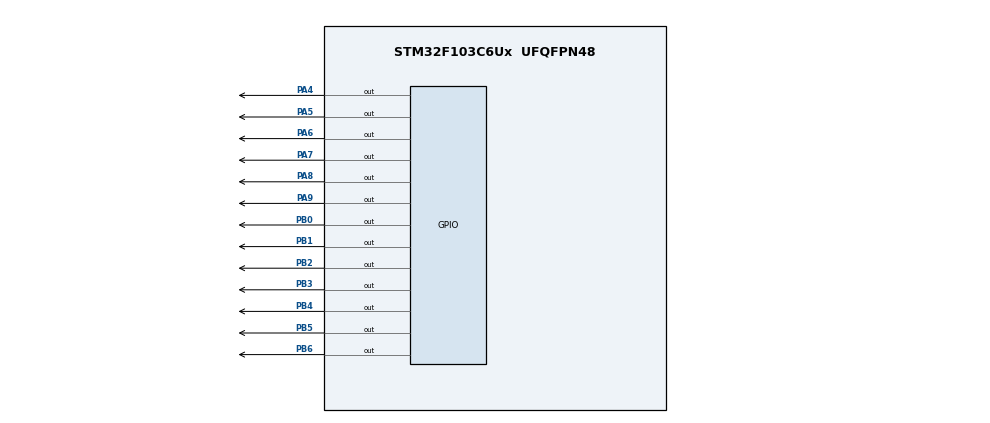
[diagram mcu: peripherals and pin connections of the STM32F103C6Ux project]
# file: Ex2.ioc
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Mcu.Family=STM32F1
Mcu.Name=STM32F103C6Ux
Mcu.Package=UFQFPN48
NVIC.PriorityGroup=NVIC_PRIORITYGROUP_4
NVIC.TIM2_IRQn=true\:0\:0\:false\:false\:true\:true\:true\:true
PA13.Mode=Serial_Wire
PA13.Signal=SYS_JTMS-SWDIO
PA14.Mode=Serial_Wire
PA14.Signal=SYS_JTCK-SWCLK
PA4.Signal=GPIO_Output
PA5.Signal=GPIO_Output
PA6.PinState=GPIO_PIN_SET
PA6.Signal=GPIO_Output
PA7.PinState=GPIO_PIN_SET
PA7.Signal=GPIO_Output
PA8.PinState=GPIO_PIN_SET
PA8.Signal=GPIO_Output
PA9.PinState=GPIO_PIN_SET
PA9.Signal=GPIO_Output
PB0.Signal=GPIO_Output
PB1.Signal=GPIO_Output
PB2.Signal=GPIO_Output
PB3.Signal=GPIO_Output
PB4.Signal=GPIO_Output
PB5.Signal=GPIO_Output
PB6.Signal=GPIO_Output
ProjectManager.HeapSize=0x200
ProjectManager.StackSize=0x400
ProjectManager.TargetToolchain=STM32CubeIDE
RCC.APB1Freq_Value=8000000
RCC.APB2Freq_Value=8000000
TIM2.Period=9
TIM2.Prescaler=7999
VP_TIM2_VS_ClockSourceINT.Mode=Internal
board=custom

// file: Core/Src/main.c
/* USER CODE BEGIN Header */
/**
  ******************************************************************************
  * @file           : main.c
  * @brief          : Main program body
  ******************************************************************************
  * @attention
  *
  * Copyright (c) 2026 STMicroelectronics.
  * All rights reserved.
  *
  * This software is licensed under terms that can be found in the LICENSE file
  * in the root directory of this software component.
  * If no LICENSE file comes with this software, it is provided AS-IS.
  *
  ******************************************************************************
  */
/* USER CODE END Header */
#include "main.h"

TIM_HandleTypeDef htim2;

/* USER CODE BEGIN PV */
int counter_led = 50;
int counter_dot = 100;
int state_led = 0;
/* USER CODE END PV */

void SystemClock_Config(void);
static void MX_GPIO_Init(void);
static void MX_TIM2_Init(void);
/* USER CODE BEGIN PFP */
void display7SEG(int num);
/* USER CODE END PFP */

/* USER CODE BEGIN 0 */
void display7SEG(int num) {
    uint8_t seg_code[10] = {
        0x40, // 0: 0b01000000
        0x79, // 1: 0b01111001
        0x24, // 2: 0b00100100
        0x30, // 3: 0b00110000
        0x19, // 4: 0b00011001
        0x12, // 5: 0b00010010
        0x02, // 6: 0b00000010
        0x78, // 7: 0b01111000
        0x00, // 8: 0b00000000
        0x10  // 9: 0b00010000
    };

    if (num >= 0 && num <= 9) {
        uint8_t code = seg_code[num];
        for (int i = 0; i < 7; i++) {
            HAL_GPIO_WritePin(GPIOB, GPIO_PIN_0 << i, ((code >> i) & 0x01) ? GPIO_PIN_SET : GPIO_PIN_RESET);
        }
    }
}
/* USER CODE END 0 */

int main(void)
{

  /* MCU Configuration--------------------------------------------------------*/

  /* Reset of all peripherals, Initializes the Flash interface and the Systick. */
  HAL_Init();

  /* Configure the system clock */
  SystemClock_Config();

  /* Initialize all configured peripherals */
  MX_GPIO_Init();
  MX_TIM2_Init();
  /* USER CODE BEGIN 2 */
  // Tắt tất cả 4 LED 7 đoạn ban đầu
  HAL_GPIO_WritePin(GPIOA, GPIO_PIN_6 | GPIO_PIN_7 | GPIO_PIN_8 | GPIO_PIN_9, GPIO_PIN_SET);

  // Tắt chấm đếm PA4
  HAL_GPIO_WritePin(GPIOA, GPIO_PIN_4, GPIO_PIN_SET);

  // Khởi động ngắt Timer 2
  HAL_TIM_Base_Start_IT(&htim2);
  /* USER CODE END 2 */

  /* Infinite loop */
  while (1)
  {

  }
}

void SystemClock_Config(void)
{
  RCC_OscInitTypeDef RCC_OscInitStruct = {0};
  RCC_ClkInitTypeDef RCC_ClkInitStruct = {0};

  /** Initializes the RCC Oscillators according to the specified parameters
  * in the RCC_OscInitTypeDef structure.
  */
  RCC_OscInitStruct.OscillatorType = RCC_OSCILLATORTYPE_HSI;
  RCC_OscInitStruct.HSIState = RCC_HSI_ON;
  RCC_OscInitStruct.HSICalibrationValue = RCC_HSICALIBRATION_DEFAULT;
  RCC_OscInitStruct.PLL.PLLState = RCC_PLL_NONE;
  if (HAL_RCC_OscConfig(&RCC_OscInitStruct) != HAL_OK)
  {
    Error_Handler();
  }

  /** Initializes the CPU, AHB and APB buses clocks
  */
  RCC_ClkInitStruct.ClockType = RCC_CLOCKTYPE_HCLK|RCC_CLOCKTYPE_SYSCLK
                              |RCC_CLOCKTYPE_PCLK1|RCC_CLOCKTYPE_PCLK2;
  RCC_ClkInitStruct.SYSCLKSource = RCC_SYSCLKSOURCE_HSI;
  RCC_ClkInitStruct.AHBCLKDivider = RCC_SYSCLK_DIV1;
  RCC_ClkInitStruct.APB1CLKDivider = RCC_HCLK_DIV1;
  RCC_ClkInitStruct.APB2CLKDivider = RCC_HCLK_DIV1;

  if (HAL_RCC_ClockConfig(&RCC_ClkInitStruct, FLASH_LATENCY_0) != HAL_OK)
  {
    Error_Handler();
  }
}

static void MX_TIM2_Init(void)
{

  TIM_ClockConfigTypeDef sClockSourceConfig = {0};
  TIM_MasterConfigTypeDef sMasterConfig = {0};

  htim2.Instance = TIM2;
  htim2.Init.Prescaler = 7999;
  htim2.Init.CounterMode = TIM_COUNTERMODE_UP;
  htim2.Init.Period = 9;
  htim2.Init.ClockDivision = TIM_CLOCKDIVISION_DIV1;
  htim2.Init.AutoReloadPreload = TIM_AUTORELOAD_PRELOAD_DISABLE;
  if (HAL_TIM_Base_Init(&htim2) != HAL_OK)
  {
    Error_Handler();
  }
  sClockSourceConfig.ClockSource = TIM_CLOCKSOURCE_INTERNAL;
  if (HAL_TIM_ConfigClockSource(&htim2, &sClockSourceConfig) != HAL_OK)
  {
    Error_Handler();
  }
  sMasterConfig.MasterOutputTrigger = TIM_TRGO_RESET;
  sMasterConfig.MasterSlaveMode = TIM_MASTERSLAVEMODE_DISABLE;
  if (HAL_TIMEx_MasterConfigSynchronization(&htim2, &sMasterConfig) != HAL_OK)
  {
    Error_Handler();
  }

}

static void MX_GPIO_Init(void)
{
  GPIO_InitTypeDef GPIO_InitStruct = {0};

  /* GPIO Ports Clock Enable */
  __HAL_RCC_GPIOA_CLK_ENABLE();
  __HAL_RCC_GPIOB_CLK_ENABLE();

  /*Configure GPIO pin Output Level */
  HAL_GPIO_WritePin(GPIOA, GPIO_PIN_4|GPIO_PIN_5, GPIO_PIN_RESET);

  /*Configure GPIO pin Output Level */
  HAL_GPIO_WritePin(GPIOA, GPIO_PIN_6|GPIO_PIN_7|GPIO_PIN_8|GPIO_PIN_9, GPIO_PIN_SET);

  /*Configure GPIO pin Output Level */
  HAL_GPIO_WritePin(GPIOB, GPIO_PIN_0|GPIO_PIN_1|GPIO_PIN_2|GPIO_PIN_3
                          |GPIO_PIN_4|GPIO_PIN_5|GPIO_PIN_6, GPIO_PIN_RESET);

  /*Configure GPIO pins : PA4 PA5 PA6 PA7
                           PA8 PA9 */
  GPIO_InitStruct.Pin = GPIO_PIN_4|GPIO_PIN_5|GPIO_PIN_6|GPIO_PIN_7
                          |GPIO_PIN_8|GPIO_PIN_9;
  GPIO_InitStruct.Mode = GPIO_MODE_OUTPUT_PP;
  GPIO_InitStruct.Pull = GPIO_NOPULL;
  GPIO_InitStruct.Speed = GPIO_SPEED_FREQ_LOW;
  HAL_GPIO_Init(GPIOA, &GPIO_InitStruct);

  /*Configure GPIO pins : PB0 PB1 PB2 PB3
                           PB4 PB5 PB6 */
  GPIO_InitStruct.Pin = GPIO_PIN_0|GPIO_PIN_1|GPIO_PIN_2|GPIO_PIN_3
                          |GPIO_PIN_4|GPIO_PIN_5|GPIO_PIN_6;
  GPIO_InitStruct.Mode = GPIO_MODE_OUTPUT_PP;
  GPIO_InitStruct.Pull = GPIO_NOPULL;
  GPIO_InitStruct.Speed = GPIO_SPEED_FREQ_LOW;
  HAL_GPIO_Init(GPIOB, &GPIO_InitStruct);

}

/* USER CODE BEGIN 4 */
void HAL_TIM_PeriodElapsedCallback(TIM_HandleTypeDef *htim) {
    if (htim->Instance == TIM2) {

        counter_dot--;
        if (counter_dot <= 0) {
            counter_dot = 100;
            HAL_GPIO_TogglePin(GPIOA, GPIO_PIN_4);
        }

        counter_led--;
        if (counter_led <= 0) {
            counter_led = 50;

            HAL_GPIO_WritePin(GPIOA, GPIO_PIN_6 | GPIO_PIN_7 | GPIO_PIN_8 | GPIO_PIN_9, GPIO_PIN_SET);

            switch (state_led) {
                case 0:
                    display7SEG(1);
                    HAL_GPIO_WritePin(GPIOA, GPIO_PIN_6, GPIO_PIN_RESET);
                    state_led = 1;
                    break;

                case 1:
                    display7SEG(2);
                    HAL_GPIO_WritePin(GPIOA, GPIO_PIN_7, GPIO_PIN_RESET);
                    state_led = 2;
                    break;

                case 2:
                    display7SEG(3);
                    HAL_GPIO_WritePin(GPIOA, GPIO_PIN_8, GPIO_PIN_RESET);
                    state_led = 3;
                    break;

                case 3:
                    display7SEG(0);
                    HAL_GPIO_WritePin(GPIOA, GPIO_PIN_9, GPIO_PIN_RESET);
                    state_led = 0;
                    break;

                default:
                    state_led = 0;
                    break;
            }
        }
    }
}
/* USER CODE END 4 */

void Error_Handler(void)
{
  __disable_irq();
  while (1)
  {
  }
}
